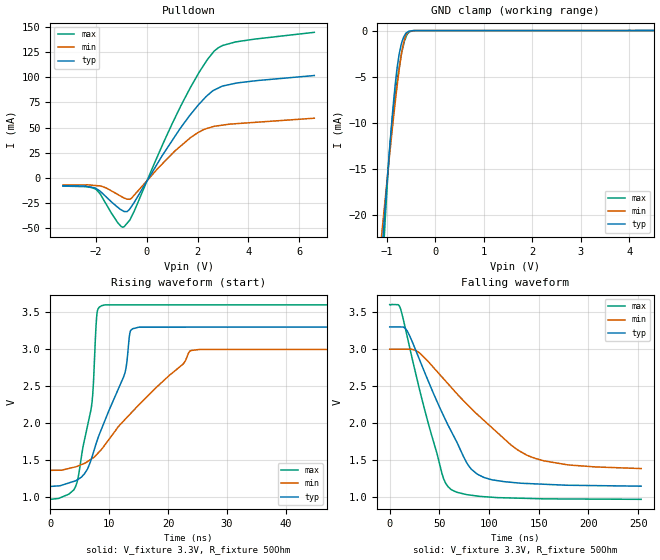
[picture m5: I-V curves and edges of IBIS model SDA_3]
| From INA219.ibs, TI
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|   3.3V SDA I/O_Open_drain Model
[Model] SDA_3   |Rload = 1k
Model_type I/O_open_drain
| Signals  SDA
Polarity   Non-Inverting
Enable   Active-Low
Vinl = 0.99
Vinh = 2.31
Vmeas = 1.65
Vref = 1.65
Cref = 0pF
Rref = 50
|   typ   min   max
|Average
C_comp   2.0039139E-10   2.3760390E-10   2.1698516E-10
|ON state
|C_comp   2.2433820e-12   2.5433970e-12   1.9431160e-12
|OFF state
|C_comp   3.9853940e-10   4.7266440e-10   4.7266440e-10
[Voltage Range]   3.3   3   3.6
[Temperature Range]   27   85   -25
[Pullup Reference]   3.3   3   3.6
[Pulldown Reference]   0   0   -0
[Power Clamp Reference]   3.3   3   3.6
[GND Clamp Reference]   0   0   0
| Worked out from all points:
|   slope of the pulldown table from 0 to 0.495 V, typ, clamps not added: 23.7 ohm
|   GND clamp passes 1 mA (typ) near -0.67 V on its own axis
|   falling waveform, V_fixture 3.3V, R_fixture 50Ohm: 20-80 % time 43.6ns typ, 72.7ns min, 30.1ns max; typ from 3.3 V to 1.15 V
|   rising waveform, V_fixture 3.3V, R_fixture 50Ohm: 20-80 % time 5.85ns typ, 11.5ns min, 2.43ns max; typ from 1.15 V to 3.3 V
[Pulldown]
|   Voltage   I(typ)   I(min)   I(max)
-3.3V     -7.794mA   -7.117mA   -8.174mA
-1.996V   -10.52mA   -7.627mA   -11.41mA
-1.14V    -29.25mA   -16.51mA   -44.63mA
-895.3mV  -33.38mA   -19.99mA   -48.61mA
-772.4mV  -33.44mA   -21.14mA   -45.1mA
-599.6mV  -28.41mA   -20.19mA   -38.58mA
630.8mV   22.96mA    14.44mA    33.51mA
1.346V    50.2mA     31.9mA     71.87mA
2.067V    73.55mA    45.72mA    105.3mA
2.644V    87.22mA    51.22mA    125.8mA
3.487V    94.06mA    53.84mA    135.1mA
6.59V     101.7mA    59.33mA    144.7mA
[GND Clamp]
|   Voltage   I(typ)   I(min)   I(max)
-3.3V     -196.9mA   -147.2mA   -279.1mA
-1.102V   -24mA      -21.89mA   -27.2mA
-1.043V   -19.69mA   -18.68mA   -21.32mA
-983.5mV  -15.54mA   -15.58mA   -16.04mA
-933.2mV  -12.15mA   -12.97mA   -12.26mA
-868.5mV  -8.1mA     -9.736mA   -8.673mA
-787.9mV  -4.013mA   -5.973mA   -5.416mA
-748.8mV  -2.626mA   -4.335mA   -4.091mA
-659.8mV  -794.9uA   -1.425mA   -1.623mA
-606.7mV  -289.9uA   -507.1uA   -723.2uA
-548.1mV  -77.69uA   -128.7uA   -218.4uA
6.59V     0A         0A         0A
[POWER Clamp]
|   SCR cell for ESD function. Effects occurr above VDD x 2
|   Voltage   I(typ)   I(min)   I(max)
-3.3V     0A         0A         0A
0V        0A         0A         0A
6.6V      0A         0A         0A
[Ramp]
R_load = 50
|   typ   min   max
dV/dt_r   1.29119/5.84889e-009  0.980788/1.14901e-008   1.57529/2.42474e-009
dV/dt_f   1.28852/4.35577e-008  0.965908/7.27422e-008   1.57486/3.01092e-008
[Falling Waveform]
V_fixture = 3.3V
V_fixture_min = 3V
V_fixture_max = 3.6V
R_fixture = 50Ohm
C_fixture = 0F
|   Time   V(typ)   V(min)   V(max)
0s        3.3V       3V         3.6V
10.79ns   3.299V     2.999V     3.548V
19.92ns   3.184V     2.999V     3.032V
29.97ns   2.859V     2.95V      2.457V
52.46ns   2.151V     2.627V     1.329V
61.66ns   1.899V     2.488V     1.108V
82.35ns   1.378V     2.196V     1.03V
102.4ns   1.24V      1.947V     1.004V
147.4ns   1.183V     1.523V     984.6mV
253.1ns   1.152V     1.39V      975.2mV
[Rising Waveform]
V_fixture = 3.3V
V_fixture_min = 3V
V_fixture_max = 3.6V
R_fixture = 50Ohm
C_fixture = 0F
|   Time   V(typ)   V(min)   V(max)
0s        1.148V     1.365V     974.5mV
4.543ns   1.235V     1.419V     1.203V
7.101ns   1.549V     1.524V     2.29V
7.971ns   1.769V     1.586V     3.5V
9.278ns   2.036V     1.708V     3.595V
12.67ns   2.674V     2.049V     3.595V
13.59ns   3.239V     2.126V     3.595V
15.07ns   3.295V     2.25V      3.595V
25.3ns    3.295V     2.994V     3.595V
253.1ns   3.3V       3V         3.6V
